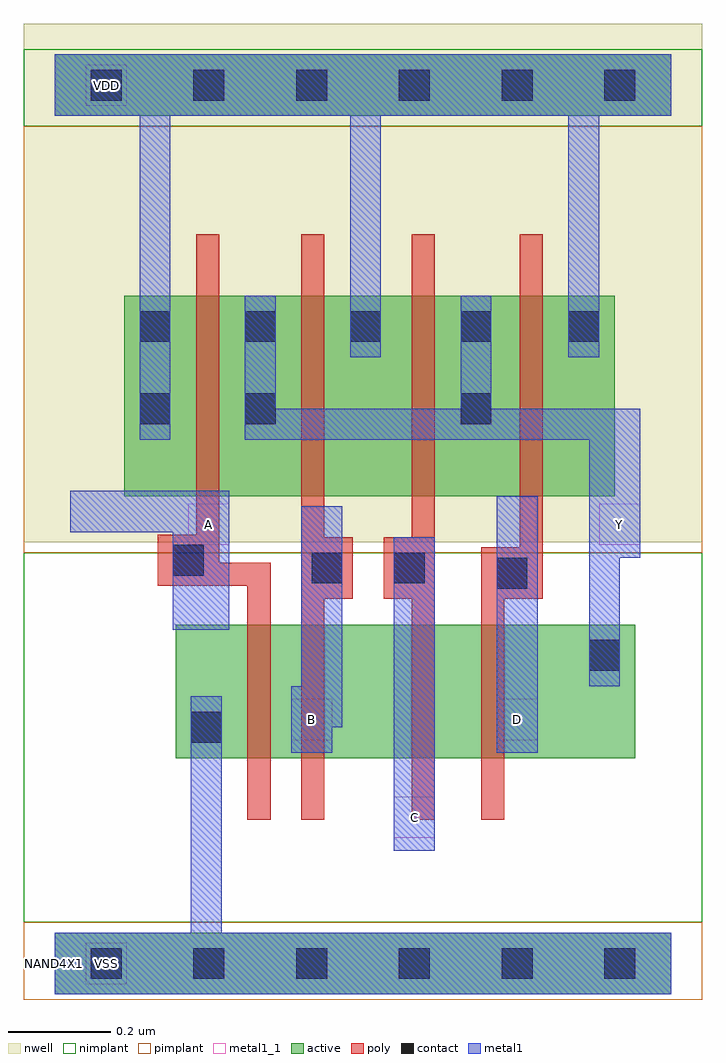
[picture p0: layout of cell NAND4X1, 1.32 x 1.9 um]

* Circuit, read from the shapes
.subckt NAND4X1 A B C D VDD VSS Y
M1 n1 A VSS VSS nfet w=0.26u l=0.045u
M2 n2 B n1 VSS nfet w=0.26u l=0.045u
M3 n3 C n2 VSS nfet w=0.26u l=0.045u
M4 Y D n3 VSS nfet w=0.26u l=0.045u
M5 Y A VDD VDD pfet w=0.39u l=0.045u
M6 VDD B Y VDD pfet w=0.39u l=0.045u
M7 Y C VDD VDD pfet w=0.39u l=0.045u
M8 VDD D Y VDD pfet w=0.39u l=0.045u
.ends

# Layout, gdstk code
import gdstk
lib = gdstk.Library(unit=1e-6, precision=5e-10)
def R(c, l, rs):  # rectangles x0, y0, x1, y1
    for r in rs: c.add(gdstk.rectangle(r[:2], r[2:], *l))
def A(c, l, x, y, w, h, nx, ny, dx, dy):  # array of equal rectangles
    R(c, l, [(x+i*dx, y+j*dy, x+i*dx+w, y+j*dy+h) for i in range(nx) for j in range(ny)])
def P(c, l, *ps):  # polygons
    for p in ps: c.add(gdstk.Polygon(p, *l))
active = (1, 0)
nwell = (2, 0)
poly = (3, 0)
nimplant = (4, 0)
pimplant = (5, 0)
contact = (6, 0)
metal1 = (7, 0)
metal1_1 = (7, 1)

nand4x1 = lib.new_cell('NAND4X1')
R(nand4x1, active, [(0,-0.06,1.2,0.06), (0.235,0.4,1.13,0.66), (0.135,0.91,1.09,1.3), (0,1.65,1.2,1.77)])
R(nand4x1, nwell, [(-0.06,0.82,1.26,1.83)])
P(nand4x1, poly, [(0.275,1.42),(0.32,1.42),(0.32,0.78),(0.42,0.78),(0.42,0.28),(0.375,0.28),(0.375,0.735),(0.2,0.735),(0.2,0.835),(0.275,0.835)],
  [(0.48,1.42),(0.525,1.42),(0.525,0.83),(0.58,0.83),(0.58,0.71),(0.525,0.71),(0.525,0.28),(0.48,0.28)],
  [(0.695,1.42),(0.74,1.42),(0.74,0.28),(0.695,0.28),(0.695,0.71),(0.64,0.71),(0.64,0.83),(0.695,0.83)],
  [(0.905,1.42),(0.95,1.42),(0.95,0.71),(0.875,0.71),(0.875,0.28),(0.83,0.28),(0.83,0.81),(0.905,0.81)])
R(nand4x1, nimplant, [(-0.06,0.08,1.26,0.8), (-0.06,1.63,1.26,1.78)])
R(nand4x1, pimplant, [(-0.06,-0.07,1.26,0.08), (-0.06,0.8,1.26,1.63)])
A(nand4x1, contact, 0.07, -0.03, 0.06, 0.06, 6, 2, 0.2, 1.71)
A(nand4x1, contact, 0.165, 1.21, 0.06, 0.06, 3, 1, 0.205, 0)
R(nand4x1, contact, [(0.265,0.43,0.325,0.49), (1.04,0.57,1.1,0.63), (0.86,0.73,0.92,0.79), (0.5,0.74,0.56,0.8), (0.66,0.74,0.72,0.8), (0.23,0.755,0.29,0.815), (0.165,1.05,0.225,1.11), (0.37,1.05,0.43,1.11), (0.79,1.05,0.85,1.11), (0.79,1.21,0.85,1.27), (1,1.21,1.06,1.27)])
R(nand4x1, metal1, [(0.66,0.22,0.74,0.83), (0.86,0.41,0.94,0.91)])
P(nand4x1, metal1, [(0.265,0.52),(0.325,0.52),(0.325,0.06),(1.2,0.06),(1.2,-0.06),(0,-0.06),(0,0.06),(0.265,0.06)],
  [(0,1.77),(1.2,1.77),(1.2,1.65),(1.06,1.65),(1.06,1.18),(1,1.18),(1,1.65),(0.635,1.65),(0.635,1.18),(0.575,1.18),(0.575,1.65),(0.225,1.65),(0.225,1.02),(0.165,1.02),(0.165,1.65),(0,1.65)],
  [(0.37,1.3),(0.43,1.3),(0.43,1.08),(0.79,1.08),(0.79,1.3),(0.85,1.3),(0.85,1.08),(1.14,1.08),(1.14,0.79),(1.1,0.79),(1.1,0.54),(1.04,0.54),(1.04,1.02),(0.37,1.02)],
  [(0.03,0.92),(0.34,0.92),(0.34,0.65),(0.23,0.65),(0.23,0.84),(0.03,0.84)],
  [(0.48,0.89),(0.56,0.89),(0.56,0.46),(0.54,0.46),(0.54,0.41),(0.46,0.41),(0.46,0.54),(0.48,0.54)])
R(nand4x1, metal1_1, [(0.06,-0.04,0.14,0.04), (0.66,0.245,0.74,0.325), (0.46,0.435,0.54,0.515), (0.86,0.435,0.94,0.515), (0.26,0.815,0.34,0.895), (1.06,0.815,1.14,0.895), (0.06,1.67,0.14,1.75)])
nand4x1.add(gdstk.Label('Y', (1.1,0.855), layer=7, texttype=1))
nand4x1.add(gdstk.Label('A', (0.3,0.855), layer=7, texttype=1))
nand4x1.add(gdstk.Label('B', (0.5,0.475), layer=7, texttype=1))
nand4x1.add(gdstk.Label('C', (0.7,0.285), layer=7, texttype=1))
nand4x1.add(gdstk.Label('D', (0.9,0.475), layer=7, texttype=1))
nand4x1.add(gdstk.Label('VDD', (0.1,1.71), layer=7, texttype=1))
nand4x1.add(gdstk.Label('VSS', (0.1,0), layer=7, texttype=1))
nand4x1.add(gdstk.Label('NAND4X1', (0,0), layer=63, texttype=0))

lib.write_gds('NAND4X1.gds')
